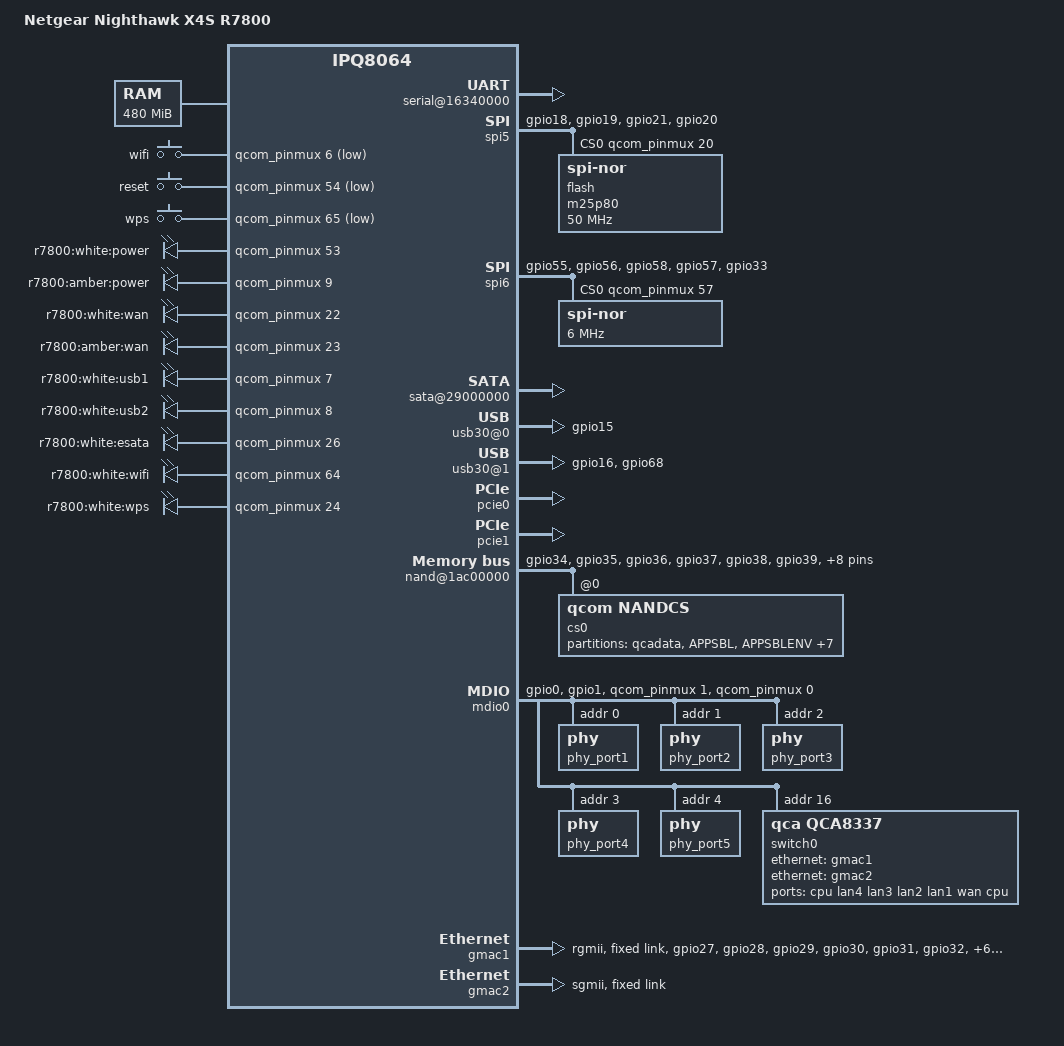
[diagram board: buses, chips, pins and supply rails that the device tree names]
#include "qcom-ipq8065-v1.0.dtsi"

#include <dt-bindings/input/input.h>

/ {
	model = "Netgear Nighthawk X4S R7800";
	compatible = "netgear,r7800", "qcom,ipq8065", "qcom,ipq8064";

	memory@0 {
		reg = <0x42000000 0x1e000000>;
		device_type = "memory";
	};

	reserved-memory {
		#address-cells = <1>;
		#size-cells = <1>;
		ranges;
		rsvd@41200000 {
			reg = <0x41200000 0x300000>;
			no-map;
		};

		rsvd@5fe00000 {
			reg = <0x5fe00000 0x200000>;
			reusable;
		};
	};

	aliases {
		serial0 = &gsbi4_serial;
		mdio-gpio0 = &mdio0;

		led-boot = &power_white;
		led-failsafe = &power_amber;
		led-running = &power_white;
		led-upgrade = &power_amber;
	};

	chosen {
		linux,stdout-path = "serial0:115200n8";
	};

	soc {
		pinmux@800000 {
			button_pins: button_pins {
				mux {
					pins = "gpio6", "gpio54", "gpio65";
					function = "gpio";
					drive-strength = <2>;
					bias-pull-up;
				};
			};

			/*
			 * i2c4_pins: i2c4_pinmux {
			 * 	mux {
			 * 		pins = "gpio12", "gpio13";
			 * 		function = "gsbi4";
			 * 		drive-strength = <12>;
			 * 		bias-disable;
			 * 	};
			 * };
			 */

			led_pins: led_pins {
				pins = "gpio7", "gpio8", "gpio9", "gpio22", "gpio23",
					"gpio24","gpio26", "gpio53", "gpio64";
				function = "gpio";
				drive-strength = <2>;
				bias-pull-down;
			};

			nand_pins: nand_pins {
				mux {
					pins = "gpio34", "gpio35", "gpio36",
					       "gpio37", "gpio38", "gpio39",
					       "gpio40", "gpio41", "gpio42",
					       "gpio43", "gpio44", "gpio45",
					       "gpio46", "gpio47";
					function = "nand";
					drive-strength = <10>;
					bias-disable;
				};
				pullups {
					pins = "gpio39";
					bias-pull-up;
				};
				hold {
					pins = "gpio40", "gpio41", "gpio42",
					       "gpio43", "gpio44", "gpio45",
					       "gpio46", "gpio47";
					bias-bus-hold;
				};
			};

			mdio0_pins: mdio0_pins {
				mux {
					pins = "gpio0", "gpio1";
					function = "gpio";
					drive-strength = <8>;
					bias-disable;
				};

				clk {
					pins = "gpio1";
					input-disable;
				};
			};

			rgmii2_pins: rgmii2_pins {
				mux {
					pins = "gpio27", "gpio28", "gpio29", "gpio30", "gpio31", "gpio32",
					       "gpio51", "gpio52", "gpio59", "gpio60", "gpio61", "gpio62" ;
					function = "rgmii2";
					drive-strength = <8>;
					bias-disable;
				};

				tx {
					pins = "gpio27", "gpio28", "gpio29", "gpio30", "gpio31", "gpio32" ;
					input-disable;
				};
			};

			spi_pins: spi_pins {
				mux {
					pins = "gpio18", "gpio19", "gpio21";
					function = "gsbi5";
					bias-pull-down;
				};

				data {
					pins = "gpio18", "gpio19";
					drive-strength = <10>;
				};

				cs {
					pins = "gpio20";
					drive-strength = <10>;
					bias-pull-up;
				};

				clk {
					pins = "gpio21";
					drive-strength = <12>;
				};
			};

			spi6_pins: spi6_pins {
				mux {
					pins = "gpio55", "gpio56", "gpio58";
					function = "gsbi6";
					bias-pull-down;
				};

				mosi {
					pins = "gpio55";
					drive-strength = <12>;
				};

				miso {
					pins = "gpio56";
					drive-strength = <14>;
				};

				cs {
					pins = "gpio57";
					drive-strength = <12>;
					bias-pull-up;
				};

				clk {
					pins = "gpio58";
					drive-strength = <12>;
				};

				reset {
					pins = "gpio33";
					drive-strength = <10>;
					bias-pull-down;
					output-high;
				};
			};

			usb0_pwr_en_pins: usb0_pwr_en_pins {
				mux {
					pins = "gpio15";
					function = "gpio";
					drive-strength = <12>;
					bias-pull-down;
					output-high;
				};
			};

			usb1_pwr_en_pins: usb1_pwr_en_pins {
				mux {
					pins = "gpio16", "gpio68";
					function = "gpio";
					drive-strength = <12>;
					bias-pull-down;
					output-high;
				};
			};
		};

		gsbi@16300000 {
			qcom,mode = <GSBI_PROT_I2C_UART>;
			status = "ok";
			serial@16340000 {
				status = "ok";
			};
			/*
			 * The i2c device on gsbi4 should not be enabled.
			 * On ipq806x designs gsbi4 i2c is meant for exclusive
			 * RPM usage. Turning this on in kernel manifests as
			 * i2c failure for the RPM.
			 */
		};

		gsbi5: gsbi@1a200000 {
			qcom,mode = <GSBI_PROT_SPI>;
			status = "ok";

			spi5: spi@1a280000 {
				status = "ok";

				pinctrl-0 = <&spi_pins>;
				pinctrl-names = "default";

				cs-gpios = <&qcom_pinmux 20 GPIO_ACTIVE_HIGH>;

				flash: m25p80@0 {
					compatible = "jedec,spi-nor";
					#address-cells = <1>;
					#size-cells = <1>;
					spi-max-frequency = <50000000>;
					reg = <0>;

					linux,part-probe = "qcom-smem";
				};
			};
		};

		gsbi6: gsbi@16500000 {
			qcom,mode = <GSBI_PROT_SPI>;
			status = "ok";
			spi6: spi@16580000 {
				status = "ok";

				pinctrl-0 = <&spi6_pins>;
				pinctrl-names = "default";

				cs-gpios = <&qcom_pinmux 57 GPIO_ACTIVE_HIGH>;

				spi-nor@0 {
					compatible = "jedec,spi-nor";
					reg = <0>;
					spi-max-frequency = <6000000>;
				};
			};
		};

		sata-phy@1b400000 {
			status = "ok";
		};

		sata@29000000 {
			ports-implemented = <0x1>;
			status = "ok";
		};

		phy@100f8800 {		/* USB3 port 1 HS phy */
			status = "ok";
		};

		phy@100f8830 {		/* USB3 port 1 SS phy */
			status = "ok";
		};

		phy@110f8800 {		/* USB3 port 0 HS phy */
			status = "ok";
		};

		phy@110f8830 {		/* USB3 port 0 SS phy */
			status = "ok";
		};

		usb30@0 {
			status = "ok";

			pinctrl-0 = <&usb0_pwr_en_pins>;
			pinctrl-names = "default";
		};

		usb30@1 {
			status = "ok";

			pinctrl-0 = <&usb1_pwr_en_pins>;
			pinctrl-names = "default";
		};

		pcie0: pci@1b500000 {
			status = "ok";
			phy-tx0-term-offset = <7>;
		};

		pcie1: pci@1b700000 {
			status = "ok";
			phy-tx0-term-offset = <7>;
			
			pcie@0 {
		reg = <0 0 0 0 0>;
		#interrupt-cells = <1>;
		#size-cells = <2>;
		#address-cells = <3>;
		device_type = "pci";

		ath10k@0,0 {
			reg = <0 0 0 0 0>;
			device_type = "pci";
			qcom,ath10k-calibration-data = [202fdc4c010100037f123456000020002ae00000006000000a170000000000000100000cff000000000000000000000000000000000000000000000000000000084000010000000000333333f4f2f2013c140600ffffff3fffffff3fffffff3f0314000000000000000000000000000000000000000000000000000000000000000000000000000000000000000000000000000000000000000000db000000000000000000000000000000009001000000000000ffffffff0001000000000000000000000000000000000000000000000000000000000000000000000000000000000f00490409009999090000000000000000000000000000000000ffffff3f0000000000000000000000000000000000003f14000000000000000000000000000000000000000000000000000000000000000000000000000000000000000000000000000000000000000000000000000000000000000000000a01290209009999090020002000200020000000001000000000000000000000000014120000000000000000000000003f140707070505050303030303030303030303030000b8ff00000000000000000000000000000000000000000000000000000000000000000000000000000000000011000000110000001100000011000000160000001600000016000000160000000000000000000000000000000000000000000000000000000000000000000000000000000000000000000000000000000b0b0b0b0000000000000000000000000000000000000000000000000000000000000000000000000000000000000000000000000000000000000000000000000000000000000000000000000000000000000000000000000000000000000000000000000000000000000000000000000000000000000000000000000000000000000000000000000000000000000000000000000000000000000000000000000000000000000000000000000000000000000000000000000000000000000000000000000000000000000000708eacffffffffffffffffffffff0000000000000000000000000000eebdc69fa57c82585a35e6c0bea79b8382635a41dec3beab9b85795d523acec2ada58a7d62554132f8f8f8f89890989900eebac69ca57a82575a33dec1b5a49381715d4939dec4b5a69381715d4939c6c0a5a4827e5a5c413df8f8f8f89991999a00eeb7c6979b71794f522ad6c1ada28a82625c4139cec2ada78a85625f413ccec4a5a682835a603838f8f8f8f89992999a00000000000000000000000000000000000000000000000000000000000000000000000000000000000000000079797979000000000000000000000000000000000000000000000000000000000000000000000000000000000000000000797979790000000000000000000000000000000000000000000000000000000000000000000000000000000000000000007979797900000000000000000000000000000000000000000000000000000000000000000000000000000000000000000079797979000000000000000000000000000000000000000000000000000000000000000000000000000000000000000000797979790000000000000000000000000000000000000000000000000000000000000000000000000000000000000000007979797900000000000000000000000000000000000000000000000000000000000000000000000000000000000000000079797979000000000000000000000000000000000000000000000000000000000000000000000000000000000000000000797979790000000000000000000000000000000000000000000000000000000000000000000000000000000000000000007979797900000000000000000000000000000000000000000000000000000000000000000000000000000000000000000079797979000000000000000000000000000000000000000000000000000000000000000000000000000000000000000000797979790000000000000000000000000000000000000000000000000000000000000000000000000000000000000000000000000000000000000000000000000000000000000000000000000000000000000000000000000000000000000000000000000000000000000000000000000000000000020201010000000000000000000000000000000000000000000000000000000000000000000000000000000000000000000000000000000000000000000000000000000000000000000000000000000000000000000000000000000000000000000000000000000000000000000000000000000000000000000000000000000093975a8537742061145096965a83316d1e5a124ba399608535701e5d144e9092507d306a1f5a1851869452823773205f1450ac9c6e8c3f7724651955c09e788c457729651b56b09c67873b7527651149b49f778f4b7e1e5e134fbaa24f8231712162175691995485357422651a59bd9f718c467a2e6b144e00000000000000000000000000000000000000000000000000000000000000000000000000000000000000000000000000000000000000000000000000000000000000000000000000000000000000000000000000000000000000000000000000000000000000000000000000000000000000000000000000000000000000000000000000000000000000000000000000000000000000000000000000000000000000000000000000000000000000000000000000000000000000000000000000000000000000000000000000000000000000000000000000000000000000000000000000000000000000000000000000000000000000000000000000000000000000000000000000000000000000000000000000000000000000000000000000000000000000000000000000000000000000000000000000000000000000000000000000000000000000000000000000000000000000000000000000000000000000000000000000000000000000000000000000000000000000000000000000000000000000000000000000000000000000000000000000000000000000000000000000000000000000000000000000000000000000000507090b0d0f11131517191b1dfffffffffffffffffffffffffffffffffffffff8f8f8f8f8f8f8f8f8f8f8f8f8f8f8f8f8f8f8f8f8f8f8f8f8f8f8f8f8f8f8f80000000101000000010102020201010102020303050505060606060606060607c0a0785028c87d50321e2424232424232522212123222122225604080001000000000000000000000000000000000000000000000000000000000000000000000000000000000000000000000000000000000000000000000000000000000000000000000000000000000000000000000000000000000000000000000000000000000000000000000000000000000000000000000000000000000000000000000000000000000000000000000000000000000000000000000000000000000000000000000000000000000000000000000000000000000000000000000000000000000000000000000000000000000000000000000000000000000000000000000000000000000000a58f010001010102040802040801010100000000000000000000000000000000000000000000000000000000000000000000000070b60000000000000000000050003c000000000000000000000000000000000000000000320000000000000000000000000000000000000000000000ceff92ff00000000000000000000000000000000000000009090767654544c46380023231e000000000000003829252322221f0000001407f6f8fefe15000000382925232222221f00001d0c07020404fd000000070001009090767654544c46380023231e0000000000000000000000000000000000000000000000000000000000000000000000000000000000000000000000000000000000000000000000000000000000000000000000000000000000000000000000000000000000000000000000000000000000000070ac708eac000000707f8eac707f8eac000000002e2e2e2e2e2e2e2e2e2e2e2e2e2c2a2826222e2e2e2e2e2c2a2826222e2e2e2e2e2c2a2826222e2e2e2e2e2c2a2826222e2e2e2e2e2c2a2826222e2e2e2e2e2c2a2826222e2e2e2e2e2c2a2826222e2e2e2e2e2c2a2826222e2e2e2e2e2c2a2824222e2e2e2e2e2c2a2824222e2e2e2e2e2c2a2824222e2e2e2e2e2c2a2824222e2e2e2e2e2c2a2824222e2e2e2e2e2c2a2824222e2e2e2e2e2c2a2824222e2e2e2e2e2c2a2824220000000000000000000000000000000000000000111e1111411e4111311e311170757a7f84898e939870757a7f84898e939870757a7f84898e939800aeaeaeaeaeaeaeaeaeaeaeaeaeaeaeaeaeaebcbcbcbcbcbcbcbcbcbcbcbcbcbcbcbcbcbc999999999999999999999999999999999999121e122e12cc12111a1e1a2e1a4c101e1011181e421e422e42cc42114a1e4a2e4a4c401e4011481e321e322e32cc32113a1e3a2e3a4c301e3011381e70757a7f84898e93989da270757a7f84898e93989da270757a7f84898e93989da2002baeaeaeaeaeaeaeaeae2b2baeaeaeaeaeaeaeaeae2b2baeaeaeaeaeaeaeaeae2b2baeaeaeaeaeaeaeaeae2b2baeaeaeaeaeaeaeaeae2d2baeaeaeaeaeaeaeaeae2d2baeaeaeaeaeaeaeaeae2d2baeaeaeaeaeaeaeaeae2b2baeaeaeaeaeaeaeaeae2b2baeaeaeaeaeaeaeaeae2bbcbcbcbcbcbcbcbcbcbcbcbcbcbcbcbcbcbcbcbcbcbcbcbcbcbcbcbcbcbcbcbcbcbcbcbcbcbcbcbcbcbcbcbcbcbcbcbcbcbcbcbcbcbcbcbcbcbcbcbcbcbcbcbcbcbcbcbcbcbcbcbcbcbcbcbcbcbcbcbcbcbcbcbcbcbcbcbcbcbcbcbcbcbcbcbcbcbcbcbcbcbcbcbcbcbcbcbcbcbc9b9b9b9b9b9b9b9b9b9b9b9b9b9b9b9b9b9b9b9b9b9b9b9b9b9b9b9b9b9b9b9b9b9b9b9b9b9b9b9b9b9b9b9b9191919191919191919191959595959595959595959595959595959595959595959a9a9a9a9a9a9a9a9a9a9a9a9a9a9a9a9a9a9a9a9a9a9a9a9a9a9a9a9a9a9a9a9a131e13ee13111b1e1b2e1b4c431e43ee43114b1e4b2e4b4c331e33ee33113b1e3b2e3b4c7a7f84898e9870757a7f848970757a7f848924aaaaaaaa2824aaaaaaaa2824aaaaaaaa2824aaaaaaaa2524aaaaaaaa2524aaaaaaaa25bcbcbcbcbcbcbcbcbcbcbcbcbcbcbcbcbcbcbcbcbcbcbcbcbcbcbcbcbcbcbcbcbcbcbcbc9b9b9b9b9b9b9b9b9b9b9b9b9b9b9b9b9b9b9191919191919595959595959595959595950000000070899dac70899dac70899dac70899dac25252525252525252525252525252525252525252525252525252525252525252525252525252525252525252525252525252525252525252525252525252525ffffffffffffffffffffffffffffffffffffffffffffffffffffffffffffffff000000000000000000000000000000000000000000000000000000000000000000000000000000000000000000000000000000000000000000000000000000000000000000000000000000007979797900000000000000000000000000000000000000000000000000000000000000000000000000000000000000000079797979000000000000000000000000000000000000000000000000000000000000000000000000000000000000000000797979790000000000000000000000000000000000000000000000000000000000000000000000000000000000000000007979797900000000000000000000000000000000000000000000000000000000000000000000000000000000000000000079797979000000000000000000000000000000000000000000000000000000000000000000000000000000000000000000797979790000000000000000000000000000000000000000000000000000000000000000000000000000000000000000007979797900000000000000000000000000000000000000000000000000000000000000000000000000000000000000000079797979000000000000000000000000000000000000000000000000000000000000000000000000000000000000000000797979790000000000000000000000000000000000000000000000000000000000000000000000000000000000000000007979797900000000000000000000000000000000000000000000000000000000000000000000000000000000000000000079797979000000000000000000000000000000000000000000000000000000000000000000000000000000000000000000797979790000000000000000000000000000000000000000000000000000000000000000000000000000000000000000007979797900000000000000000000000000000000000000000000000000000000000000000000000000000000000000000079797979000000000000000000000000000000000000000000000000000000000000000000000000000000000000000000797979790000000000000000000000000000000000000000000000000000000000000000000000000000000000000000007979797900000000000000000000000000000000000000000000000000000000000000000000000000000000000000000079797979000000000000000000000000000000000000000000000000000000000000000000000000000000000000000000797979790000000000000000000000000000000000000000000000000000000000000000000000000000000000000000007979797900000000000000000000000000000000000000000000000000000000000000000000000000000000000000000079797979000000000000000000000000000000000000000000000000000000000000000000000000000000000000000000797979790000000000000000000000000000000000000000000000000000000000000000000000000000000000000000007979797900000000000000000000000000000000000000000000000000000000000000000000000000000000000000000079797979000000000000000000000000000000000000000000000000000000000000000000000000000000000000000000797979790000000000000000000000000000000000000000000000000000000000000000000000000000000000000000007979797900000000000000000000000000000000000000000000000000000000000000000000000000000000000000000079797979000000000000000000000000000000000000000000000000000000000000000000000000000000000000000000797979790000000000000000000000000000000000000000000000000000000000000000000000000000000000000000007979797900000000000000000000000000000000000000000000000000000000000000000000000000000000000000000079797979000000000000000000000000000000000000000000000000000000000000000000000000000000000000000000797979790000000000000000000000000000000000000000000000000000000000000000000000000000000000000000007979797900000000000000000000000000000000000000000000000000000000000000000000000000000000000000000079797979000000000000000000000000000000000000000000000000000000000000000000000000000000000000000000000000000000000000000000000000000000000000000000000000000000000000000000000000000000000000000000000000000000000000000000000000000000000000000000000000000000000000000000000000000000000000000000000000000000000000000000000000000000000000000000000000000000000000000000000000000000000000000000000000000000000000000000000000000000000000000000000000000000000000000000000000000000000000000000000000000000000000000000000000000000000000000000000000000000000000000000000000000000000000000000000000000000000000000000000000000000000000000000000000000000000000000000000000000000000000000000000000000000000000000000000000000000000000000000000000000000000000000000000000000000000000000000000000000000000000000000000000000000000000000000000000000000000000000000000000000000000000000000000000000000000000000000000000000000000000000000000000000000000000000000000000000000000000000000000000000000000000000000000000000000000000000000000000000000000000000000000000000000000000000000000000000000000000000000000000000000000000000000000000000000000000000000000000000000000000000000000000000000000000000000000000000000000000000000000000000000000000000000000000000000000000000000000000000000000000000000000000000000000000000000000000000000000000000000000000000000000000000000000000000000000000000000000000000000000000000000000000000000000000000000000000000000000000000000000000000000000000000000000000000000000000000000000000000000000000000000000000000000000000000000000000000000000000000000000000000000000000000000000000000000000000000000000000000000000000000000000000000000000000000000000000000000000000000000000000000000000000000000000000000000000000000000000000000000000000000000000000000000000000000000000000000000000000000000000000000000000000000000000000000000000000000000000000000000000000000000000000000000000000000000000000000000000000000000000000000000000000000000000000000000000000000000000000000000000000000000000000000000000000000000000000000000000000000000000000000000000000000000000000000000000000000000000000000000000000000000000000000000000000000000000000000000000000000000000000000000000000000000000000000000000000000000000000000000000000000000000000000000000000000000000000000000000000000000000000000000000000000000000000000000000000000000000000000000000000000000000000000000000000000000000000000000000000000000000000000000000000000000000000000000000000000000000000000000000000000000000000000000000000000000000000000000000000000000000000000000000000000000000000000000000000000000000000000000000000000000000000000000000000000000000000000000000000000000000000000000000000000000000000000000000000000000000000000000000000000000000000000000000000000000000000000000000000000000000000000000000000000000000000000000000000000000000000000000000000000000000000000000000000000000000000000000000000000000000000000000000000000000000000000000000000000000000000000000000000000000000000000000000000000000000000000000000000000000000000000000000000000000000000000000000000000000000000000000000000000000000000000000000000000000000000000000000000000000000000000000000000000000000000000000000000000000000000000000000000000000000000000000000000000000000000000000000000000000000000000000000000000000000000000000000000000000000000000000000000000000000000000000000000000000000000000000000000000000000000000000000000000000000000000000000000000000000000000000000000000000000000000000000000000000000000000000000000000000000000000000000000000000000000000000000000000000000000000000000000000000000000000000000000000000000000000000000000000000000000000000000000000000000000000000000000000000000000000000000000000000000000000000000000000000000000000000000000000000000000000000000000000000000000000000000000000000000000000000000000000000000000000000000000000000000000000000000000000000000000000000000000000000000000000000000000000000000000000000000000000000000000000000000000000000000000000000000000000000000000000000000000000000000000000000000000000000000000000000000000000000000000000000000000000000000000000000000000000000000000000000000000000000000000000000000000000000000000000000000000000000000000000000000000000000000000000000000000000000000000000000000000000000000000000000000000000000000000000000000000000000000000000000000000000000000000000000000000000000000000000000000000000000000000000000000000000000000000000000000000000000000000000000000000000000000000000000000000000000000000000000000000000000000000000000000000000000000000000000000000000000000000000000000000000000000000000000000000000000000000000000000000000000000000000000000000000000000000000000000000000000000000000000000000000000000000000000000000000000000000000000000000000000000000000000000000000000000000000000000000000000000000000000000000000000000000000000000000000000000000000000000000000000000000000000000000000000000000000000000000000000000000000000000000000000000000000000000000000000000000000000000000000000000000000000000000000000000000000000000000000000000000000000000000000000000000000000000000000000000000000000000000000000000000000000000000000000000000000000000000000000000000000000000000000000000000000000000000000000000000000000000000000000000000000000000000000000000000000000000000000000000000000000000000000000000000000000000000000000000000000000000000000000000000000000000000000000000000000000000000000000000000000000000000000000000000000000000000000000000000000000000000000000000000000000000000000000000000000000000000000000000000000000000000000000000000000000000000000000000000000000000000000000000000000000000000000000000000000000000000000000000000000000000000000000000000000000000000000000000000000000000000000000000000000000000000000000000000000000000000000000000000000000000000000000000000000000f3f3f3f3f3f3f3f3f3f3f3f3f3f3f3f3f3f30000000000000000000000000000000000000000000000000000000000000000000000000000000000000000000000000000000000000000000000000000000000000000000000000000000000000000000000000000000000000000000000000000000000000000000000000000000000000000000000000000000000000000000000000000000100000000000000000000000000000000000000000000000000000000000000000000000000000001000000000000000000000000000000000000000000000000000000000000000000000000000000000000000000000000000000000000000000000000000000000000000000000000000000000000000000000000000000000000000000000000000000000000000000000000000000000000000000000000000000000000000000000000000000000000000000000000000000000000000000000000000000000000000000000000000000000000000000000000000000000000000000000000000000000000000000000000000000000000000000004c5c688cb4cd00004c5c68788ca0b4cd4c5c68788ca0b4cd4c5c68788ca0b4cd2e2e2e2e2d2b292624202e2e2e2e2d2b292624202e2e2e2e2d2b292624202e2e2e2e2d2b292624202e2e2e2e2d2b292624202e2e2e2e2d2b292624202e2e2e2e2d2b292624202e2e2e2e2d2b292624202e2e2e2e2d2b292624202e2e2e2e2d2b292624202e2e2e2e2d2b292624202e2e2e2e2d2b292624202e2e2e2e2d2b292624202e2e2e2e2d2b292624202e2e2e2e2d2b292624202e2e2e2e2d2b292624202e2e2e2e2d2b292624202e2e2e2e2d2b292624202e2e2e2e2d2b292624202e2e2e2e2d2b292624202e2e2e2e2d2b292624202e2e2e2e2d2b292624202e2e2e2e2d2b292624202e2e2e2e2d2b292624202e2e2e2e2d2b292624202e2e2e2e2d2b292624202e2e2e2e2d2b292624202e2e2e2e2d2b292624202e2e2e2e2d2b292624202e2e2e2e2d2b292624202e2e2e2e2d2b292624202e2e2e2e2d2b292624202e2e2e2e2c2a2826241e2e2e2e2e2c2a2826241e2e2e2e2e2c2a2826241e2e2e2e2e2c2a2826241e2e2e2e2e2c2a2826241e2e2e2e2e2c2a2826241e2e2e2e2e2c2a2826241e2e2e2e2e2c2a2826241e2e2e2e2e2c2a2826241e2e2e2e2e2c2a2826241e2e2e2e2e2c2a2826241e2e2e2e2e2c2a2826241e2e2e2e2e2c2a2826241e2e2e2e2e2c2a2826241e2e2e2e2e2c2a2826241e2e2e2e2e2c2a2826241e0000000000000000000000000000000000000000000000000000000000000000000000000000000000000000000000000000000000000000000000000000000000000000000000000000000000000000000000000000000000000000000000000000000000000000000000000000000000000000000000000000000000000000000000000000000000000000000000000000000000000000000000000000000000000000000000000000000000000000000000000000000000000000000000000000000000000000000000000000000000000000000000000000000000000000000000000000000000000000000000000000000000000000000000000000000000000000000000000000000000000000000000000000000000000000000000000000000000000000000000000000000000000000000000000000000000000000000000000000000000000000000000000000000000000000000000000000000000000000000000000000000000000000000000000000000000000000000000000000000000000000000000000000000000000000000000000000000000000000000000000000000000000000000000000000000000000000000000000000000000000000000000000000000000000000000000000000000000000000000000000000000000000000000000000000000000000000000000000000000000000000000000000000000000000000000000000000000000000000000000000000000000000000000000000000000000000000000000000000000000000000000000000000000000000000000000000000000000000000000000000000000000000000000000000000000000000000000000000000000000000000000000000000000000000000000000000000000000000000000000000000000000000000000000000000000000000000000000000000000000000000000000000000000000000000000000000000000000000000000000000000000000000000000000000000000000000000000000000000000000000000000000000000000000000000ffb00c140204640070890000010204089a999b96a1abaaaa9bffffff00000000bbb0b3ae9b999b97a2aba9aa9bffffff00000000bbb0b4af97979797a1a1a1a10000000000000000b8b8b8b897979797a1a1a1a10000000000000000b8b8b8b84c585c688ca0b4c94c585c688ca0b4c94c585c688ca0b4c94c585c688ca0b4c92726252427262524272625242726252427262524272625242726252427262524272625242726252427262524272625242726252427262524272625242726252427262524272625242726252427262524272625242726252427262524272625242726252427262524272625242726252427262524272625242726252427262524101e1011181e401e4011481e301e3011381e4c5054585c6064688c9094989ca0a4a8acb0b4b8bdc1c5c9cd4c5054585c6064688c9094989ca0a4a8acb0b4b8bdc1c5c9cd4c5054585c6064688c9094989ca0a4a8acb0b4b8bdc1c5c9cd002e2e2e2e3c3c3c3c3c3c3c3c3c3c3c3c3c3c3c3c2e2e2e2e2e2e2e2e2e3c3c3c3c3c3c3c3c3c3c3c3c3c3c3c3c2e2e2e2e2e2e2e2e2e3c3c3c3c3c3c3c3c3c3c3c3c3c3c3c3c2e2e2e2e2e3c3c3c3c3c3c3c3c3c3c3c3c3c3c3c3c3c3c3c3c3c3c3c3c3c3c3c3c3c3c3c3c3c3c3c3c3c3c3c3c3c3c3c3c3c3c3c3c3c3c3c3c3c3c3c3c3c3c3c3c3c3c3c3c3c3c3c3c3c3c3c3c3c3c3c1f1f1f1f1f1f1f1f2c2c2c2c2c2c2c2c2c2c2c3c3c3c3c3c3c1f1f1f1f1f1f1f1f2c2c2c2c2c2c2c2c2c2c2c3c3c3c3c3c3c1f1f1f1f1f1f1f1f2c2c2c2c2c2c2c2c2c2c2c3c3c3c3c3c3c00121e122e124c128812111a1e1a2e1a4c421e422e424c428842114a1e4a2e4a4c321e322e324c328832113a1e3a2e3a4c4c5054585c6064688c9094989ca0a4a8acb0b4b8bdc1c5c9cd4c5054585c6064688c9094989ca0a4a8acb0b4b8bdc1c5c9cd4c5054585c6064688c9094989ca0a4a8acb0b4b8bdc1c5c9cd002e2e2e2e3c3c3c3c3c3c3c3c3c3c3c3c3c3c3c3c2e2e2e2e2e2e2e2e2e3c3c3c3c3c3c3c3c3c3c3c3c3c3c3c3c2e2e2e2e2e2e2e2e2e3c3c3c3c3c3c3c3c3c3c3c3c3c3c3c3c2e2e2e2e2e2e2e2e2e3c3c3c3c3c3c3c3c3c3c3c3c3c3c3c3c2e2e2e2e2e2e2e2e2e3c3c3c3c3c3c3c3c3c3c3c3c3c3c3c3c2e2e2e2e2e2d2e2e2e3c3c3c3c3c3c3c3c3c3c3c3c3c3c3c3c2d2d2d2d2d2d2e2e2e3c3c3c3c3c3c3c3c3c3c3c3c3c3c3c3c2e2e2e2e2e2d2e2e2e3c3c3c3c3c3c3c3c3c3c3c3c3c3c3c3c2e2e2e2e2e3c3c3c3c3c3c3c3c3c3c3c3c3c3c3c3c3c3c3c3c3c3c3c3c3c3c3c3c3c3c3c3c3c3c3c3c3c3c3c3c3c3c3c3c3c3c3c3c3c3c3c3c3c3c3c3c3c3c3c3c3c3c3c3c3c3c3c3c3c3c3c3c3c3c3c3c3c3c3c3c3c3c3c3c3c3c3c3c3c3c3c3c3c3c3c3c3c3c3c3c3c3c3c3c3c3c3c3c3c3c3c3c3c3c3c3c3c3c3c3c3c3c3c3c3c3c3c3c3c3c3c3c3c3c3c3c3c3c3c3c3c3c3c3c3c3c3c3c3c3c3c3c3c3c3c3c3c3c3c3c3c3c3c3c3c3c3c3c3c3c3c3c3c3c3c3c3c3c3c3c3c3c3c3c3c3c3c3c3c3c3c3c3c3c3c3c3c3c3c3c20202020202020202c2c2c2c2c2c2c2c2c2c2c3c3c3c3c3c3c20202020202020202c2c2c2c2c2c2c2c2c2c2c3c3c3c3c3c3c20202020202020202c2c2c2c2c2c2c2c2c2c2c3c3c3c3c3c3c20202020202020202c2c2c2c2c2c2c2c2c2c2c3c3c3c3c3c3c20202020202020202c2c2c2c2c2c2c2c2c2c2c3c3c3c3c3c3c161616161616161623232323232323232323233c3c3c3c3c3c1a1a1a1a1a1a1a1a28282828282828282828283c3c3c3c3c3c1a1a1a1a1a1a1a1a28282828282828282828283c3c3c3c3c3c131e13ee13111b1e1b2e1b4c431e43ee43114b1e4b2e4b4c331e33ee33113b1e3b2e3b4c4e565e668e969ea6aeb6bfc74e565e668e969ea6aeb6bfc74e565e668e969ea6aeb6bfc7282e3c3c3c3c3c3c3c3c2e2e282e3c3c3c3c3c3c3c3c2e2e282e3c3c3c3c3c3c3c3c2e2e272e3c3c3c3c3c3c3c3c2c2d272e3c3c3c3c3c3c3c3c2e2e272e3c3c3c3c3c3c3c3c2e2e3c3c3c3c3c3c3c3c3c3c3c3c3c3c3c3c3c3c3c3c3c3c3c3c3c3c3c3c3c3c3c3c3c3c3c3c3c3c3c3c3c3c3c3c3c3c3c3c3c3c3c3c3c3c3c3c3c3c3c3c3c3c3c3c3c3c3c3c3c3c3c3c202020202c2c2c2c2c2c3c3c202020202c2c2c2c2c2c3c3c202020202c2c2c2c2c2c3c3c161616162323232323233c3c1a1a1a1a2727272727273c3c1a1a1a1a2727272727273c3c14fe14111c1e1c2e1c4c140044fe44114c1e4c2e4c4c440034fe34113c1e3c2e3c4c3400526292a2b2c3526292a2b2c3526292a2b2c3263c3c3c3c2d263c3c3c3c2d263c3c3c3c2b273c3c3c3c2c273c3c3c3c2c263c3c3c3c2d3c3c3c3c3c3c3c3c3c3c3c3c3c3c3c3c3c3c3c3c3c3c3c3c3c3c3c3c3c3c3c3c3c3c3c3c20202c2c3c3c20202c2c3c3c161623233c3c1a1a27273c3c1a1a27273c3c20202c2c3c3c000000000000000000000000000000000000000000000000000000000000000000000000000000000000000100000001000000010000000100000000000000000000000000000000000000000000242423242423252221212322212221242423242423252221212322212221252524252524232221202321212221252524252524232221202321212221242423242423252221212322212221242423242423252221212322212221252524252524232221202321212221252524252524232221202321212221000000000000000000000000000000000000000000000000];
		};
	};
		};

		nand@1ac00000 {
			status = "ok";

			pinctrl-0 = <&nand_pins>;
			pinctrl-names = "default";

			cs0 {
				reg = <0>;
				compatible = "qcom,nandcs";

				nand-ecc-strength = <4>;
				nand-bus-width = <8>;
				nand-ecc-step-size = <512>;

				partitions {
					compatible = "fixed-partitions";
					#address-cells = <1>;
					#size-cells = <1>;

					qcadata@0 {
						label = "qcadata";
						reg = <0x0000000 0x0c80000>;
						read-only;
					};

					APPSBL@c80000 {
						label = "APPSBL";
						reg = <0x0c80000 0x0500000>;
						read-only;
					};

					APPSBLENV@1180000 {
						label = "APPSBLENV";
						reg = <0x1180000 0x0080000>;
						read-only;
					};

					art: art@1200000 {
						label = "art";
						reg = <0x1200000 0x0140000>;
						read-only;
					};

					artbak: art@1340000 {
						label = "artbak";
						reg = <0x1340000 0x0140000>;
						read-only;
					};

					kernel@1480000 {
						label = "kernel";
						reg = <0x1480000 0x0200000>;
					};

					ubi@1680000 {
						label = "ubi";
						reg = <0x1680000 0x1E00000>;
					};

					netgear@3480000 {
						label = "netgear";
						reg = <0x3480000 0x4480000>;
						read-only;
					};

					reserve@7900000 {
						label = "reserve";
						reg = <0x7900000 0x0700000>;
						read-only;
					};

					firmware@1480000 {
						label = "firmware";
						reg = <0x1480000 0x2000000>;
					};
				};
			};
		};

		mdio0: mdio {
			compatible = "virtual,mdio-gpio";
			#address-cells = <1>;
			#size-cells = <0>;
			gpios = <&qcom_pinmux 1 GPIO_ACTIVE_HIGH &qcom_pinmux 0 GPIO_ACTIVE_HIGH>;
			pinctrl-0 = <&mdio0_pins>;
			pinctrl-names = "default";
	
			phy_port1: phy@0 {
				reg = <0>;
			};

			phy_port2: phy@1 {
				reg = <1>;
			};

			phy_port3: phy@2 {
				reg = <2>;
			};

			phy_port4: phy@3 {
				reg = <3>;
			};

			phy_port5: phy@4 {
				reg = <4>;
			};

			switch0@16 {
				compatible = "qca,qca8337";
				#address-cells = <1>;
				#size-cells = <0>;

				reg = <16>;

				ports {
					#address-cells = <1>;
					#size-cells = <0>;
					port@0 {
						reg = <0>;
						label = "cpu";
						ethernet = <&gmac1>;
						phy-mode = "rgmii";

 						fixed-link {
 							speed = <1000>;
 							full-duplex;
 						};
					};

					port@1 {
						reg = <1>;
						label = "lan4";
						phy-handle = <&phy_port1>;
					};

					port@2 {
						reg = <2>;
						label = "lan3";
						phy-handle = <&phy_port2>;
					};

					port@3 {
						reg = <3>;
						label = "lan2";
						phy-handle = <&phy_port3>;
					};

					port@4 {
						reg = <4>;
						label = "lan1";
						phy-handle = <&phy_port4>;
					};

					port@5 {
						reg = <5>;
						label = "wan";
						phy-handle = <&phy_port5>;
					};

					port@6 {
						reg = <6>;
						label = "cpu";
						ethernet = <&gmac2>;
						phy-mode = "sgmii";

 						fixed-link {
 							speed = <1000>;
 							full-duplex;
 						};
					};
				};
			};		
		};

		gmac1: ethernet@37200000 {
			status = "ok";
			phy-mode = "rgmii";
			qcom,id = <1>;
			qcom,phy_mdio_addr = <4>;
			qcom,poll_required = <0>;
			qcom,rgmii_delay = <1>;
			qcom,phy_mii_type = <0>;
			qcom,emulation = <0>;
			qcom,irq = <255>;
			mdiobus = <&mdio0>;

			pinctrl-0 = <&rgmii2_pins>;
			pinctrl-names = "default";

			mtd-mac-address = <&art 6>;

			fixed-link {
				speed = <1000>;
				full-duplex;
			};
		};

		gmac2: ethernet@37400000 {
			status = "ok";
			phy-mode = "sgmii";
			qcom,id = <2>;
			qcom,phy_mdio_addr = <0>;	/* none */
			qcom,poll_required = <0>;	/* no polling */
			qcom,rgmii_delay = <0>;
			qcom,phy_mii_type = <1>;
			qcom,emulation = <0>;
			qcom,irq = <258>;
			mdiobus = <&mdio0>;

			mtd-mac-address = <&art 0>;

			fixed-link {
				speed = <1000>;
				full-duplex;
			};
		};

		/*
		 * rpm@108000 {
		 * 	pinctrl-0 = <&i2c4_pins>;
		 * 	pinctrl-names = "default";
		 * };
		 */
	};

	gpio-keys {
		compatible = "gpio-keys";
		pinctrl-0 = <&button_pins>;
		pinctrl-names = "default";

		wifi {
			label = "wifi";
			gpios = <&qcom_pinmux 6 GPIO_ACTIVE_LOW>;
			linux,code = <KEY_RFKILL>;
			debounce-interval = <60>;
			wakeup-source;
		};

		reset {
			label = "reset";
			gpios = <&qcom_pinmux 54 GPIO_ACTIVE_LOW>;
			linux,code = <KEY_RESTART>;
			debounce-interval = <60>;
			wakeup-source;
		};

		wps {
			label = "wps";
			gpios = <&qcom_pinmux 65 GPIO_ACTIVE_LOW>;
			linux,code = <KEY_WPS_BUTTON>;
			debounce-interval = <60>;
			wakeup-source;
		};
	};

	gpio-leds {
		compatible = "gpio-leds";
		pinctrl-0 = <&led_pins>;
		pinctrl-names = "default";

		power_white: power_white {
			label = "r7800:white:power";
			gpios = <&qcom_pinmux 53 GPIO_ACTIVE_HIGH>;
			default-state = "keep";
		};

		power_amber: power_amber {
			label = "r7800:amber:power";
			gpios = <&qcom_pinmux 9 GPIO_ACTIVE_HIGH>;
		};

		wan_white {
			label = "r7800:white:wan";
			gpios = <&qcom_pinmux 22 GPIO_ACTIVE_HIGH>;
		};

		wan_amber {
			label = "r7800:amber:wan";
			gpios = <&qcom_pinmux 23 GPIO_ACTIVE_HIGH>;
		};

		usb1 {
			label = "r7800:white:usb1";
			gpios = <&qcom_pinmux 7 GPIO_ACTIVE_HIGH>;
		};

		usb2 {
			label = "r7800:white:usb2";
			gpios = <&qcom_pinmux 8 GPIO_ACTIVE_HIGH>;
		};

		esata {
			label = "r7800:white:esata";
			gpios = <&qcom_pinmux 26 GPIO_ACTIVE_HIGH>;
		};

		wifi {
			label = "r7800:white:wifi";
			gpios = <&qcom_pinmux 64 GPIO_ACTIVE_HIGH>;
		};

		wps {
			label = "r7800:white:wps";
			gpios = <&qcom_pinmux 24 GPIO_ACTIVE_HIGH>;
		};
	};
};

&adm_dma {
	status = "ok";
};
